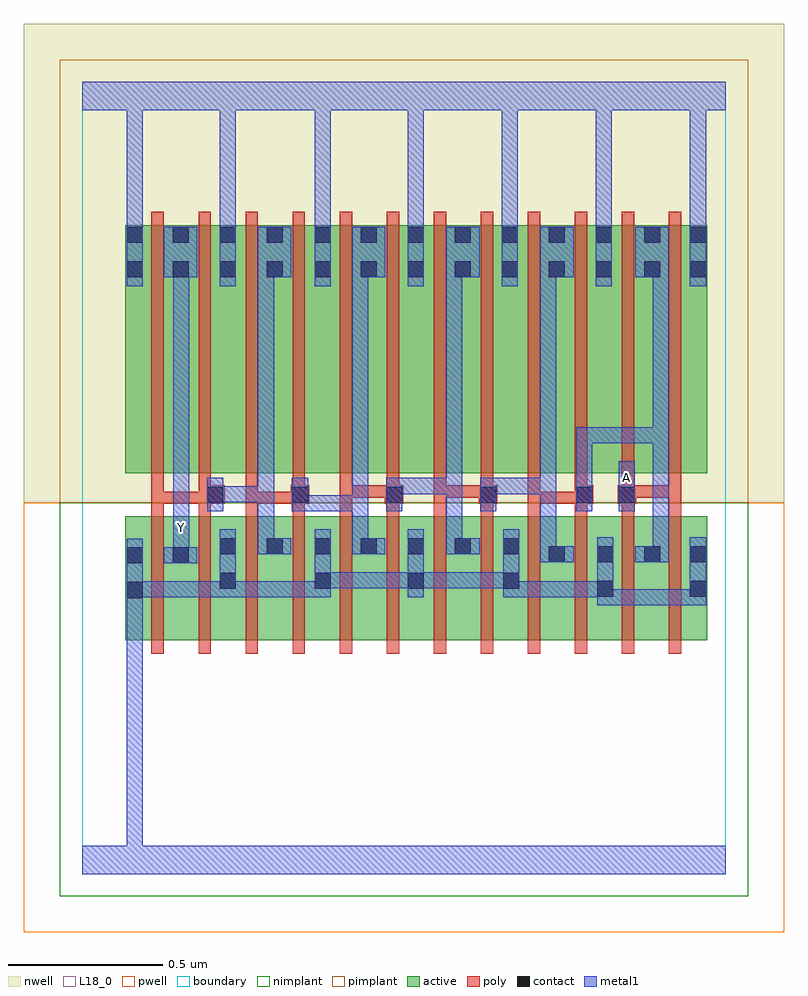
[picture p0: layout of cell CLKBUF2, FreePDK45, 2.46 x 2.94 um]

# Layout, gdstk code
import gdstk
lib = gdstk.Library(unit=1e-6, precision=1e-09)
def R(c, l, rs):  # rectangles x0, y0, x1, y1
    for r in rs: c.add(gdstk.rectangle(r[:2], r[2:], *l))
def A(c, l, x, y, w, h, nx, ny, dx, dy):  # array of equal rectangles
    R(c, l, [(x+i*dx, y+j*dy, x+i*dx+w, y+j*dy+h) for i in range(nx) for j in range(ny)])
active = (1, 0)
pwell = (2, 0)
nwell = (3, 0)
nimplant = (4, 0)
pimplant = (5, 0)
poly = (9, 0)
contact = (10, 0)
metal1 = (11, 0)
L18_0 = (18, 0)
boundary = (235, 0)

clkbuf2 = lib.new_cell('CLKBUF2')
A(clkbuf2, active, 0.14, 0.756, 0.208, 0.4, 3, 1, 0.608, 0)
A(clkbuf2, active, 0.896, 1.296, 0.212, 0.8, 5, 1, 0.152, 0)
A(clkbuf2, active, 1.352, 1.296, 0.06, 0.8, 3, 1, 0.304, 0)
R(clkbuf2, active, [(0.14,0.756,0.2,1.156), (0.288,0.756,0.5,1.156), (0.288,0.756,0.348,1.06), (0.44,0.756,0.5,1.156), (0.44,0.756,0.652,1.156), (0.592,0.756,0.808,1.156), (0.592,0.756,0.652,1.09), (0.748,0.756,0.808,1.156), (0.896,0.756,1.108,1.156), (0.896,0.756,0.956,1.09), (1.048,0.756,1.26,1.156), (1.048,0.756,1.108,1.09), (1.2,0.756,1.26,1.156), (1.2,0.756,1.416,1.156), (1.356,0.756,1.416,1.09), (1.504,0.756,1.564,1.064), (1.504,0.756,1.72,1.156), (1.66,0.756,1.72,1.064), (1.66,0.756,1.872,1.156), (1.812,0.756,2.02,1.156), (1.812,0.756,1.872,1.064), (1.96,0.756,2.02,1.156), (0.14,1.296,0.2,2.096), (0.14,1.296,0.348,2.096), (0.288,1.296,0.348,2.096), (0.288,1.296,0.5,2.096), (0.44,1.296,0.652,2.096), (0.592,1.296,0.652,2.096), (0.592,1.296,0.808,2.096), (0.748,1.296,0.808,2.096), (0.748,1.296,0.956,2.096), (0.896,1.296,0.956,2.096), (1.2,1.296,1.26,2.096), (1.656,1.296,1.872,2.096), (1.812,1.296,2.02,2.096), (0.44,1.686,0.5,2.096), (1.048,1.686,1.108,2.096), (1.504,1.686,1.564,2.096), (1.812,1.686,1.872,2.096)])
R(clkbuf2, pwell, [(-0.188,-0.188,2.268,1.2)])
R(clkbuf2, nwell, [(-0.188,1.2,2.268,2.748)])
R(clkbuf2, nimplant, [(-0.072,-0.072,2.152,1.2)])
R(clkbuf2, pimplant, [(-0.072,1.2,2.152,2.632)])
A(clkbuf2, poly, 0.224, 0.712, 0.04, 0.488, 12, 1, 0.152, 0)
A(clkbuf2, poly, 0.224, 1.16, 0.04, 0.076, 4, 1, 0.152, 0)
A(clkbuf2, poly, 1.288, 1.16, 0.04, 0.076, 4, 1, 0.152, 0)
A(clkbuf2, poly, 0.674, 1.196, 0.06, 0.06, 3, 1, 0.304, 0)
A(clkbuf2, poly, 0.68, 1.216, 0.04, 0.076, 5, 1, 0.152, 0)
A(clkbuf2, poly, 1.592, 1.216, 0.04, 0.076, 3, 1, 0.152, 0)
A(clkbuf2, poly, 0.224, 1.252, 0.04, 0.888, 12, 1, 0.152, 0)
R(clkbuf2, poly, [(0.832,1.16,0.872,1.256), (0.984,1.16,1.024,1.236), (1.136,1.16,1.176,1.256), (1.896,1.16,1.936,1.256), (0.224,1.196,0.264,1.236), (0.224,1.196,0.264,1.236), (0.224,1.196,0.264,1.236), (0.224,1.196,0.264,1.292), (0.224,1.196,0.416,1.236), (0.376,1.196,0.416,1.236), (0.376,1.196,0.416,1.236), (0.376,1.196,0.416,1.236), (0.376,1.196,0.416,1.236), (0.376,1.196,0.46,1.256), (0.528,1.196,0.568,1.236), (0.528,1.196,0.568,1.236), (0.528,1.196,0.568,1.236), (0.528,1.196,0.568,1.292), (0.528,1.196,0.714,1.236), (0.674,1.196,0.714,1.236), (0.674,1.196,0.714,1.236), (1.44,1.196,1.48,1.236), (1.44,1.196,1.48,1.236), (1.44,1.196,1.48,1.236), (1.44,1.196,1.48,1.236), (1.44,1.196,1.48,1.236), (1.44,1.196,1.48,1.292), (1.44,1.196,1.632,1.236), (1.592,1.196,1.632,1.236), (1.592,1.196,1.632,1.236), (1.592,1.196,1.652,1.256), (1.73,1.196,1.79,1.256), (0.376,1.216,0.416,1.292), (0.68,1.216,0.72,1.256), (0.68,1.216,0.72,1.256), (0.832,1.216,0.872,1.256), (0.832,1.216,0.872,1.256), (0.832,1.216,0.872,1.256), (0.832,1.216,1.018,1.256), (0.978,1.216,1.018,1.256), (0.978,1.216,1.018,1.256), (0.984,1.216,1.024,1.256), (0.984,1.216,1.024,1.256), (1.136,1.216,1.176,1.256), (1.136,1.216,1.176,1.256), (1.136,1.216,1.176,1.256), (1.136,1.216,1.322,1.256), (1.282,1.216,1.322,1.256), (1.282,1.216,1.322,1.256), (1.288,1.216,1.328,1.256), (1.288,1.216,1.328,1.256), (1.744,1.216,1.784,1.256), (1.744,1.216,1.784,1.256), (1.75,1.216,1.936,1.256), (1.896,1.216,1.936,1.256), (1.896,1.216,1.936,1.256), (1.896,1.216,1.936,1.256), (1.896,1.216,1.936,1.256), (1.896,1.216,1.936,1.256)])
A(clkbuf2, contact, 0.9, 1.034, 0.052, 0.052, 3, 1, 0.152, 0)
A(clkbuf2, contact, 0.678, 1.2, 0.052, 0.052, 3, 1, 0.304, 0)
A(clkbuf2, contact, 0.292, 1.928, 0.052, 0.052, 3, 2, 0.152, 0.112)
A(clkbuf2, contact, 0.9, 1.928, 0.052, 0.052, 6, 2, 0.152, 0.112)
R(clkbuf2, contact, [(0.144,0.892,0.196,0.944), (1.664,0.896,1.716,0.948), (1.964,0.896,2.016,0.948), (0.444,0.922,0.496,0.974), (0.752,0.922,0.804,0.974), (1.052,0.922,1.104,0.974), (1.36,0.922,1.412,0.974), (0.144,1.004,0.196,1.056), (0.292,1.004,0.344,1.056), (1.508,1.008,1.56,1.06), (1.664,1.008,1.716,1.06), (1.816,1.008,1.868,1.06), (1.964,1.008,2.016,1.06), (0.444,1.034,0.496,1.086), (0.596,1.034,0.648,1.086), (0.752,1.034,0.804,1.086), (1.36,1.034,1.412,1.086), (0.404,1.2,0.456,1.252), (1.596,1.2,1.648,1.252), (1.734,1.2,1.786,1.252), (0.144,1.928,0.196,1.98), (0.752,1.928,0.804,1.98), (1.816,1.928,1.868,1.98), (1.964,1.928,2.016,1.98), (0.144,2.04,0.196,2.092), (0.752,2.04,0.804,2.092), (1.816,2.04,1.868,2.092), (1.964,2.04,2.016,2.092)])
A(clkbuf2, metal1, 0.568, 1.034, 0.108, 0.052, 3, 1, 0.304, 0)
A(clkbuf2, metal1, 0.678, 1.172, 0.052, 0.108, 3, 1, 0.304, 0)
A(clkbuf2, metal1, 1.052, 1.9, 0.052, 0.22, 4, 1, 0.304, 0)
A(clkbuf2, metal1, 0.264, 1.928, 0.108, 0.164, 5, 1, 0.304, 0)
A(clkbuf2, metal1, 1.052, 2.068, 0.052, 0.452, 4, 1, 0.304, 0)
R(clkbuf2, metal1, [(0,0,2.08,0.092), (0.144,0.04,0.196,0.092), (0.144,0.04,0.196,0.092), (0.144,0.04,0.196,0.092), (0.144,0.04,0.196,0.092), (0.144,0.04,0.196,0.092), (0.144,0.04,0.196,0.092), (0.144,0.04,0.196,0.092), (0.144,0.04,0.196,0.092), (0.144,0.04,0.196,0.092), (0.144,0.04,0.196,0.092), (0.144,0.04,0.196,0.916), (0.144,0.864,0.196,0.916), (0.144,0.864,0.196,0.916), (0.144,0.864,0.196,1.084), (1.664,0.868,1.716,1.088), (1.664,0.868,1.826,0.92), (1.774,0.868,1.826,0.92), (1.774,0.868,1.826,0.92), (1.774,0.868,1.826,0.92), (1.774,0.868,2.016,0.92), (1.964,0.868,2.016,0.92), (1.964,0.868,2.016,0.92), (1.964,0.868,2.016,1.088), (0.144,0.894,0.196,0.946), (0.144,0.894,0.196,0.946), (0.144,0.894,0.306,0.946), (0.254,0.894,0.306,0.946), (0.254,0.894,0.496,0.946), (0.444,0.894,0.496,0.946), (0.444,0.894,0.496,0.946), (0.444,0.894,0.496,1.114), (0.444,0.894,0.606,0.946), (0.554,0.894,0.606,0.946), (0.554,0.894,0.606,0.946), (0.554,0.894,0.606,0.946), (0.554,0.894,0.804,0.946), (0.752,0.894,0.804,0.946), (0.752,0.894,0.804,0.946), (0.752,0.894,0.804,1.114), (1.052,0.894,1.104,1.114), (1.36,0.894,1.412,1.114), (1.36,0.894,1.522,0.946), (1.47,0.894,1.522,0.946), (1.47,0.894,1.522,0.946), (1.47,0.894,1.522,0.946), (1.47,0.894,1.676,0.946), (1.624,0.894,1.676,0.946), (1.624,0.894,1.716,0.946), (0.752,0.924,0.914,0.976), (0.862,0.924,0.914,0.976), (0.862,0.924,0.914,0.976), (0.862,0.924,0.914,0.976), (0.862,0.924,1.104,0.976), (1.052,0.924,1.104,0.976), (1.052,0.924,1.104,0.976), (1.052,0.924,1.214,0.976), (1.162,0.924,1.214,0.976), (1.162,0.924,1.214,0.976), (1.162,0.924,1.214,0.976), (1.162,0.924,1.412,0.976), (1.36,0.924,1.412,0.976), (1.36,0.924,1.412,0.976), (0.264,1.004,0.372,1.056), (0.294,1.004,0.346,1.118), (1.48,1.008,1.588,1.06), (1.48,1.008,1.532,1.28), (1.788,1.008,1.896,1.06), (1.844,1.008,1.896,1.06), (1.844,1.008,1.896,1.06), (1.844,1.008,1.896,1.444), (0.568,1.034,0.62,1.254), (0.872,1.034,0.924,1.224), (1.176,1.034,1.228,1.28), (0.294,1.066,0.346,1.174), (0.294,1.122,0.346,1.98), (0.404,1.172,0.456,1.28), (0.678,1.172,0.73,1.224), (0.678,1.172,0.73,1.224), (0.678,1.172,0.924,1.224), (0.872,1.172,0.924,1.224), (0.872,1.172,0.924,1.224), (0.872,1.172,0.924,1.224), (0.872,1.172,0.924,1.224), (0.872,1.172,0.924,1.224), (0.872,1.172,0.924,1.98), (1.596,1.172,1.648,1.28), (1.734,1.172,1.786,1.334), (0.404,1.202,0.456,1.254), (0.404,1.202,0.456,1.254), (0.404,1.202,0.62,1.254), (0.568,1.202,0.62,1.254), (0.568,1.202,0.62,1.254), (0.568,1.202,0.62,1.254), (0.568,1.202,0.62,1.254), (0.568,1.202,0.62,1.254), (0.568,1.202,0.62,1.98), (0.982,1.228,1.034,1.28), (0.982,1.228,1.034,1.28), (0.982,1.228,1.228,1.28), (1.176,1.228,1.228,1.28), (1.176,1.228,1.228,1.28), (1.176,1.228,1.228,1.28), (1.176,1.228,1.228,1.98), (1.286,1.228,1.338,1.28), (1.286,1.228,1.338,1.28), (1.286,1.228,1.532,1.28), (1.48,1.228,1.532,1.28), (1.48,1.228,1.532,1.28), (1.48,1.228,1.532,1.28), (1.48,1.228,1.532,1.98), (1.596,1.228,1.648,1.28), (1.596,1.228,1.648,1.444), (1.596,1.392,1.896,1.444), (1.844,1.392,1.896,1.444), (1.844,1.392,1.896,1.444), (1.844,1.392,1.896,1.444), (1.844,1.392,1.896,1.98), (0.144,1.9,0.196,2.12), (0.444,1.9,0.496,2.12), (0.752,1.9,0.804,2.12), (0.294,1.928,0.346,1.98), (0.294,1.928,0.346,1.98), (1.176,1.928,1.228,1.98), (1.176,1.928,1.228,1.98), (1.48,1.928,1.532,1.98), (1.48,1.928,1.532,1.98), (1.788,1.928,1.896,2.092), (0.144,2.068,0.196,2.12), (0.144,2.068,0.196,2.12), (0.144,2.068,0.196,2.12), (0.144,2.068,0.196,2.12), (0.144,2.068,0.196,2.12), (0.144,2.068,0.196,2.12), (0.144,2.068,0.196,2.52), (0.444,2.068,0.496,2.12), (0.444,2.068,0.496,2.12), (0.444,2.068,0.496,2.52), (0.752,2.068,0.804,2.52), (1.052,2.068,1.104,2.12), (1.052,2.068,1.104,2.12), (1.66,2.068,1.712,2.12), (1.66,2.068,1.712,2.12), (1.964,2.068,2.016,2.12), (1.964,2.068,2.016,2.12), (1.964,2.068,2.016,2.12), (1.964,2.068,2.016,2.12), (0,2.468,2.08,2.56), (0.144,2.468,0.196,2.52), (0.144,2.468,0.196,2.52), (0.444,2.468,0.496,2.52), (0.444,2.468,0.496,2.52), (0.444,2.468,0.496,2.52), (0.444,2.468,0.496,2.52), (0.444,2.468,0.496,2.52), (0.444,2.468,0.496,2.52), (0.752,2.468,0.804,2.52), (0.752,2.468,0.804,2.52), (0.752,2.468,0.804,2.52), (0.752,2.468,0.804,2.52), (0.752,2.468,0.804,2.52), (0.752,2.468,0.804,2.52), (0.752,2.468,0.804,2.52), (0.752,2.468,0.804,2.52), (1.052,2.468,1.104,2.52), (1.052,2.468,1.104,2.52), (1.052,2.468,1.104,2.52), (1.052,2.468,1.104,2.52), (1.052,2.468,1.104,2.52), (1.052,2.468,1.104,2.52), (1.356,2.468,1.408,2.52), (1.356,2.468,1.408,2.52), (1.356,2.468,1.408,2.52), (1.356,2.468,1.408,2.52), (1.356,2.468,1.408,2.52), (1.356,2.468,1.408,2.52), (1.356,2.468,1.408,2.52), (1.356,2.468,1.408,2.52), (1.66,2.468,1.712,2.52), (1.66,2.468,1.712,2.52), (1.66,2.468,1.712,2.52), (1.66,2.468,1.712,2.52), (1.66,2.468,1.712,2.52), (1.66,2.468,1.712,2.52), (1.964,2.468,2.016,2.52), (1.964,2.468,2.016,2.52), (1.964,2.468,2.016,2.52), (1.964,2.468,2.016,2.52)])
A(clkbuf2, L18_0, 1.052, 1.9, 0.052, 0.22, 4, 1, 0.304, 0)
A(clkbuf2, L18_0, 1.052, 2.068, 0.052, 0.452, 4, 1, 0.304, 0)
R(clkbuf2, L18_0, [(0,0,2.08,0.092), (0.144,0.04,0.196,0.092), (0.144,0.04,0.196,0.092), (0.144,0.04,0.196,0.092), (0.144,0.04,0.196,0.092), (0.144,0.04,0.196,0.092), (0.144,0.04,0.196,0.092), (0.144,0.04,0.196,0.092), (0.144,0.04,0.196,0.092), (0.144,0.04,0.196,0.092), (0.144,0.04,0.196,0.092), (0.144,0.04,0.196,0.916), (0.144,0.864,0.196,0.916), (0.144,0.864,0.196,0.916), (0.144,0.864,0.196,1.084), (1.664,0.868,1.716,1.088), (1.664,0.868,1.826,0.92), (1.774,0.868,1.826,0.92), (1.774,0.868,1.826,0.92), (1.774,0.868,1.826,0.92), (1.774,0.868,2.016,0.92), (1.964,0.868,2.016,0.92), (1.964,0.868,2.016,0.92), (1.964,0.868,2.016,1.088), (0.144,0.894,0.196,0.946), (0.144,0.894,0.196,0.946), (0.144,0.894,0.306,0.946), (0.254,0.894,0.306,0.946), (0.254,0.894,0.496,0.946), (0.444,0.894,0.496,0.946), (0.444,0.894,0.496,0.946), (0.444,0.894,0.496,1.114), (0.444,0.894,0.606,0.946), (0.554,0.894,0.606,0.946), (0.554,0.894,0.606,0.946), (0.554,0.894,0.606,0.946), (0.554,0.894,0.804,0.946), (0.752,0.894,0.804,0.946), (0.752,0.894,0.804,0.946), (0.752,0.894,0.804,1.114), (1.052,0.894,1.104,1.114), (1.36,0.894,1.412,1.114), (1.36,0.894,1.522,0.946), (1.47,0.894,1.522,0.946), (1.47,0.894,1.522,0.946), (1.47,0.894,1.522,0.946), (1.47,0.894,1.676,0.946), (1.624,0.894,1.676,0.946), (1.624,0.894,1.716,0.946), (0.752,0.924,0.914,0.976), (0.862,0.924,0.914,0.976), (0.862,0.924,0.914,0.976), (0.862,0.924,0.914,0.976), (0.862,0.924,1.104,0.976), (1.052,0.924,1.104,0.976), (1.052,0.924,1.104,0.976), (1.052,0.924,1.214,0.976), (1.162,0.924,1.214,0.976), (1.162,0.924,1.214,0.976), (1.162,0.924,1.214,0.976), (1.162,0.924,1.412,0.976), (1.36,0.924,1.412,0.976), (1.36,0.924,1.412,0.976), (0.264,1.004,0.372,1.056), (0.294,1.004,0.346,1.118), (0.294,1.066,0.346,1.174), (0.294,1.094,0.346,1.146), (0.294,1.122,0.346,1.98), (1.734,1.172,1.786,1.334), (1.734,1.254,1.786,1.306), (0.144,1.9,0.196,2.12), (0.444,1.9,0.496,2.12), (0.752,1.9,0.804,2.12), (0.264,1.928,0.372,2.092), (0.294,1.928,0.346,1.98), (0.294,1.928,0.346,1.98), (0.144,2.068,0.196,2.12), (0.144,2.068,0.196,2.12), (0.144,2.068,0.196,2.12), (0.144,2.068,0.196,2.12), (0.144,2.068,0.196,2.12), (0.144,2.068,0.196,2.12), (0.144,2.068,0.196,2.52), (0.444,2.068,0.496,2.12), (0.444,2.068,0.496,2.12), (0.444,2.068,0.496,2.52), (0.752,2.068,0.804,2.52), (1.052,2.068,1.104,2.12), (1.052,2.068,1.104,2.12), (1.66,2.068,1.712,2.12), (1.66,2.068,1.712,2.12), (1.964,2.068,2.016,2.12), (1.964,2.068,2.016,2.12), (1.964,2.068,2.016,2.12), (1.964,2.068,2.016,2.12), (0,2.468,2.08,2.56), (0.144,2.468,0.196,2.52), (0.144,2.468,0.196,2.52), (0.444,2.468,0.496,2.52), (0.444,2.468,0.496,2.52), (0.444,2.468,0.496,2.52), (0.444,2.468,0.496,2.52), (0.444,2.468,0.496,2.52), (0.444,2.468,0.496,2.52), (0.752,2.468,0.804,2.52), (0.752,2.468,0.804,2.52), (0.752,2.468,0.804,2.52), (0.752,2.468,0.804,2.52), (0.752,2.468,0.804,2.52), (0.752,2.468,0.804,2.52), (0.752,2.468,0.804,2.52), (0.752,2.468,0.804,2.52), (1.052,2.468,1.104,2.52), (1.052,2.468,1.104,2.52), (1.052,2.468,1.104,2.52), (1.052,2.468,1.104,2.52), (1.052,2.468,1.104,2.52), (1.052,2.468,1.104,2.52), (1.356,2.468,1.408,2.52), (1.356,2.468,1.408,2.52), (1.356,2.468,1.408,2.52), (1.356,2.468,1.408,2.52), (1.356,2.468,1.408,2.52), (1.356,2.468,1.408,2.52), (1.356,2.468,1.408,2.52), (1.356,2.468,1.408,2.52), (1.66,2.468,1.712,2.52), (1.66,2.468,1.712,2.52), (1.66,2.468,1.712,2.52), (1.66,2.468,1.712,2.52), (1.66,2.468,1.712,2.52), (1.66,2.468,1.712,2.52), (1.964,2.468,2.016,2.52), (1.964,2.468,2.016,2.52), (1.964,2.468,2.016,2.52), (1.964,2.468,2.016,2.52)])
R(clkbuf2, boundary, [(0,0,2.08,2.56)])
clkbuf2.add(gdstk.Label('A', (1.76,1.28), layer=11, texttype=0))
clkbuf2.add(gdstk.Label('Y', (0.32,1.12), layer=11, texttype=0))

lib.write_gds('CLKBUF2.gds')
